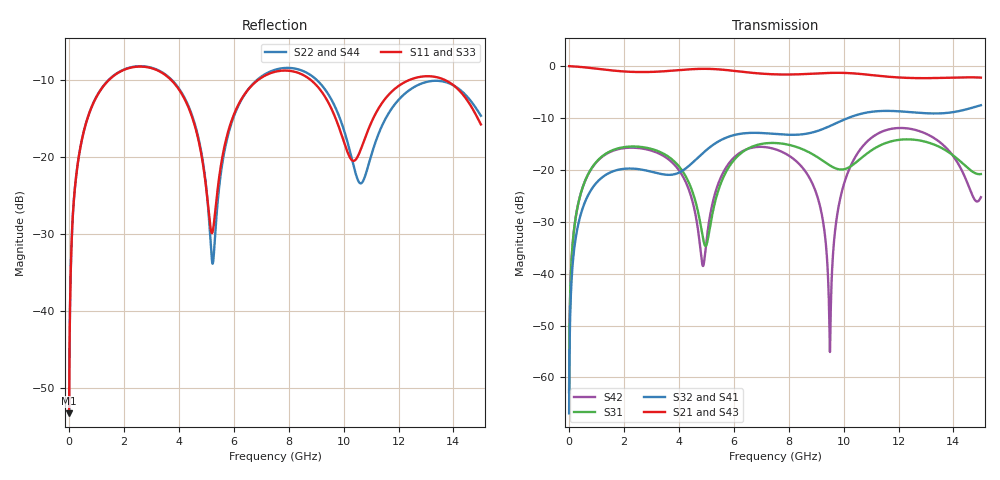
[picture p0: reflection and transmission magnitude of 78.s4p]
! Created with skrf 1.8.0 (http://scikit-rf.org).
# GHz S RI R 50.0
!freq ReS11 ImS11 ReS12 ImS12 ReS13 ImS13
! ReS14 ImS14
! ReS21 ImS21 ReS22 ImS22 ReS23 ImS23
! ReS24 ImS24
! ReS31 ImS31 ReS32 ImS32 ReS33 ImS33
! ReS34 ImS34
! ReS41 ImS41 ReS42 ImS42 ReS43 ImS43
! ReS44 ImS44
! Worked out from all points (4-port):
!   2499 points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, 5 MHz to 15 GHz, reference 50 ohm
!   strongest paths, dB at 5 MHz, 3.476 GHz, 7.19 GHz, 11.1 GHz, 15 GHz:
!     S21: 0.0, -1.0, -1.5, -1.8, -2.2
!     S43: 0.0, -1.0, -1.5, -1.8, -2.2
!     S32: -66.9, -20.9, -13.0, -8.8, -7.5
!     S41: -66.9, -21.0, -13.0, -8.8, -7.5
!     S31: -62.9, -17.0, -14.9, -16.0, -20.8
!     S42: -62.8, -17.4, -15.6, -13.5, -25.3
!   lowest |S11| = -53.3 dB at 5 MHz (marker M1), VSWR 1.00, Z = 50.2 + j0.13 ohm
!   |S11| at or under -10 dB: start of sweep to 1.443 GHz; 3.729 GHz to 6.875 GHz (3.145 GHz wide, 59.3 % of centre); 8.816 GHz to 12.37 GHz (3.557 GHz wide, 33.6 % of centre) (the widest 3 of 4)
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0.005  0.00172 0.0013  0.9983 -0.00334  8.77e-05 0.000715  -8.49e-05 -0.000443
       0.9983 -0.00334  0.00172 0.0013  -8.49e-05 -0.000443  8.75e-05 0.000715
       8.77e-05 0.000715  -8.49e-05 -0.000443  0.00172 0.0013  0.9983 -0.00334
       -8.49e-05 -0.000443  8.75e-05 0.000715  0.9983 -0.00334  0.00172 0.0013
1.619545  0.2942 0.1645  0.4881 -0.7617  0.1475 0.0506  -0.0969 0.00464
          0.4881 -0.7617  0.2967 0.1627  -0.0971 0.00485  0.1405 0.0617
          0.1475 0.0506  -0.0971 0.00485  0.2942 0.1647  0.488 -0.7617
          -0.0969 0.00464  0.1405 0.0617  0.488 -0.7617  0.2969 0.1626
5.239683  0.0323 0.00725  -0.9352 -0.059  -0.00623 0.0391  -0.00751 0.1734
          -0.9352 -0.059  0.0203 0.00134  -0.00442 0.1735  0.0196 0.0451
          -0.00623 0.0391  -0.00442 0.1735  0.0336 0.00558  -0.9351 -0.0592
          -0.00751 0.1734  0.0196 0.0451  -0.9351 -0.0592  0.0194 -0.000213
8.053356  0.3633 -0.0175  -0.024 0.8295  0.1246 -0.1202  0.211 -0.0484
          -0.024 0.8295  0.3791 -0.026  0.2109 -0.0543  0.1252 -0.0498
          0.1246 -0.1202  0.2109 -0.0543  0.3621 -0.0183  -0.0228 0.8297
          0.211 -0.0484  0.1252 -0.0498  -0.0228 0.8297  0.3795 -0.0259
9.497707  0.1753 -0.1282  0.6161 0.5993  -0.074 -0.0822  0.1819 -0.1914
          0.6161 0.5993  0.1799 -0.1693  0.1757 -0.1972  0.00187 5.21e-05
          -0.074 -0.0822  0.1757 -0.1972  0.1752 -0.1292  0.6173 0.5979
          0.1819 -0.1914  0.00187 5.21e-05  0.6173 0.5979  0.181 -0.1693
11.07336  0.1512 0.0934  0.8006 -0.1594  0.0374 0.1533  -0.0959 -0.35
          0.8006 -0.1594  0.0958 0.0581  -0.107 -0.3482  0.1404 0.155
          0.0374 0.1533  -0.107 -0.3482  0.1481 0.0901  0.8002 -0.1619
          -0.0959 -0.35  0.1404 0.155  0.8002 -0.1619  0.1002 0.0579
15  0.1433 -0.078  -0.5892 -0.5026  -0.0901 -0.0137  -0.2784 0.3156
    -0.5892 -0.5026  0.164 -0.0871  -0.2601 0.3294  -0.0529 0.0131
    -0.0901 -0.0137  -0.2601 0.3294  0.1484 -0.0694  -0.5954 -0.496
    -0.2784 0.3156  -0.0529 0.0131  -0.5954 -0.496  0.1517 -0.0896
